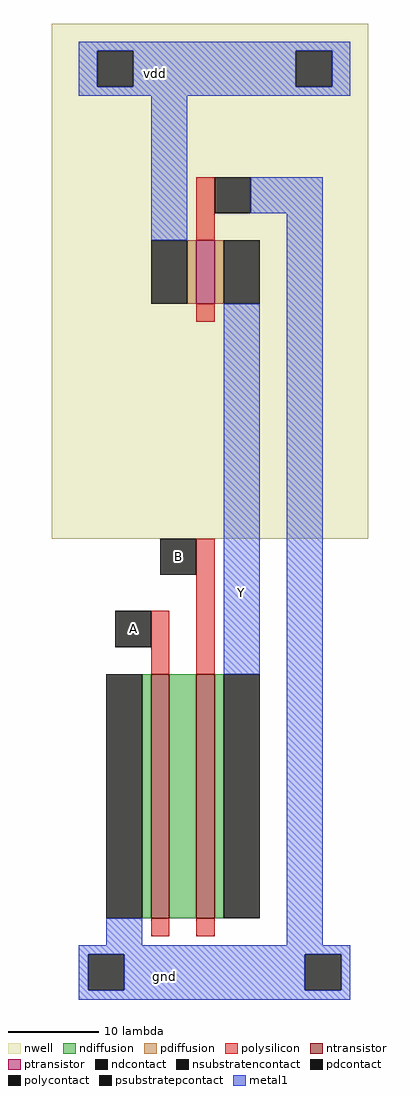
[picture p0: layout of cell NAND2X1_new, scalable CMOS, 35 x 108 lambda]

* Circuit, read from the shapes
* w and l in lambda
.subckt NAND2X1_new A B Y gnd vdd
M1 n1 A gnd gnd nfet w=27 l=2
M2 Y B n1 gnd nfet w=27 l=2
M3 Y gnd vdd vdd pfet w=7 l=2
.ends

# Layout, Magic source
magic
tech scmos
<< nwell >>
rect -4 48 31 105
<< ntransistor >>
rect 7 6 9 33
rect 12 6 14 33
<< ptransistor >>
rect 12 74 14 81
<< ndiffusion >>
rect 6 6 7 33
rect 9 6 12 33
rect 14 6 15 33
<< pdiffusion >>
rect 11 74 12 81
rect 14 74 15 81
<< ndcontact >>
rect 2 6 6 33
rect 15 6 19 33
<< pdcontact >>
rect 7 74 11 81
rect 15 74 19 81
<< psubstratepcontact >>
rect 0 -2 4 2
rect 24 -2 28 2
<< nsubstratencontact >>
rect 1 98 5 102
rect 23 98 27 102
<< polysilicon >>
rect 12 81 14 88
rect 12 72 14 74
rect 7 33 9 40
rect 12 33 14 48
rect 7 4 9 6
rect 12 4 14 6
<< polycontact >>
rect 14 84 18 88
rect 8 44 12 48
rect 3 36 7 40
<< metal1 >>
rect -1 102 29 103
rect -1 98 1 102
rect 5 98 23 102
rect 27 98 29 102
rect -1 97 29 98
rect 7 81 11 97
rect 18 84 26 88
rect 15 33 19 74
rect 2 3 6 6
rect 22 3 26 84
rect -1 2 29 3
rect -1 -2 0 2
rect 4 -2 24 2
rect 28 -2 29 2
rect -1 -3 29 -2
<< labels >>
rlabel metal1 8 -1 9 0 1 gnd
rlabel metal1 7 99 8 100 1 vdd
rlabel metal1 17 42 17 42 1 Y
rlabel polycontact 5 38 5 38 1 A
rlabel polycontact 10 46 10 46 1 B
<< end >>
